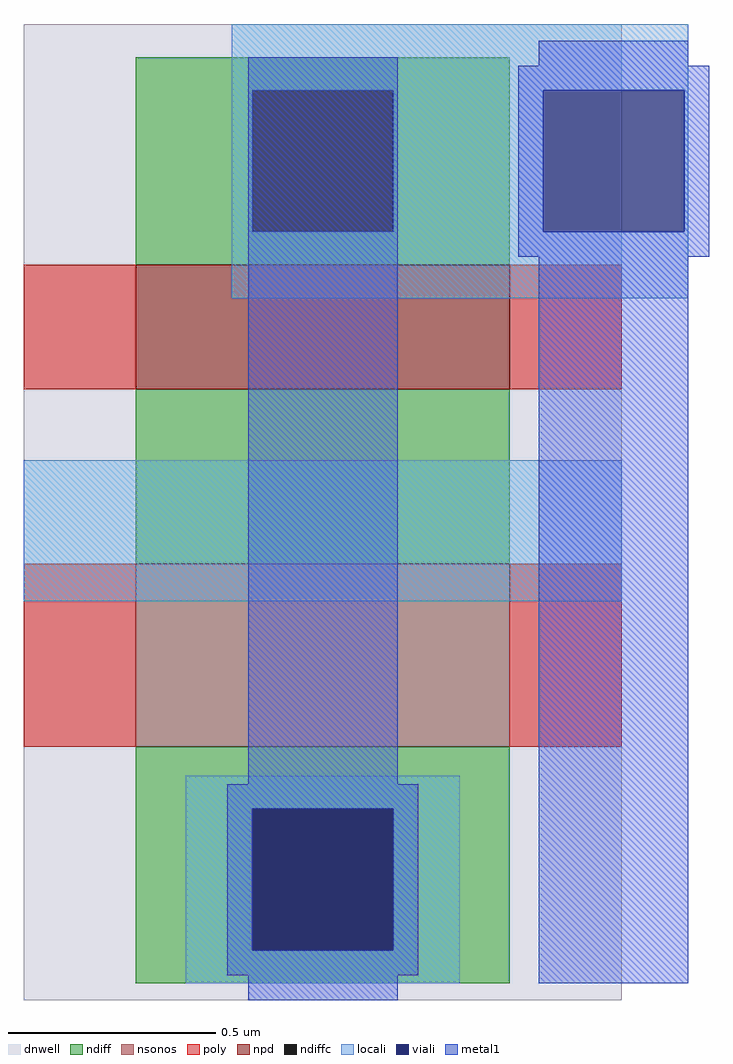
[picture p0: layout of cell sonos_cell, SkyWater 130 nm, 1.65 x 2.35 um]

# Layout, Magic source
magic
tech sky130A
<< dnwell >>
rect -72 -126 72 109
<< npd >>
rect -45 21 45 51
<< nsonos >>
rect -45 -65 45 -21
<< ndiff >>
rect -45 93 45 101
rect -45 59 -17 93
rect 17 59 45 93
rect -45 51 45 59
rect -45 -21 45 21
rect -45 -80 45 -65
rect -45 -114 -17 -80
rect 17 -114 45 -80
rect -45 -122 45 -114
<< ndiffc >>
rect -17 59 17 93
rect -17 -114 17 -80
<< poly >>
rect -72 21 -45 51
rect 45 21 72 51
rect -72 -65 -45 -21
rect 45 -65 72 -21
<< locali >>
rect -22 93 88 109
rect -22 59 -17 93
rect 17 59 53 93
rect 87 59 88 93
rect -22 43 88 59
rect -72 -30 72 4
rect -33 -80 33 -72
rect -33 -114 -17 -80
rect 17 -114 33 -80
rect -33 -122 33 -114
<< viali >>
rect 53 59 87 93
rect -17 -114 17 -80
<< metal1 >>
rect -18 -74 18 101
rect 52 99 88 105
rect 47 93 93 99
rect 47 59 53 93
rect 87 59 93 93
rect 47 53 93 59
rect -23 -80 23 -74
rect -23 -114 -17 -80
rect 17 -114 23 -80
rect -23 -120 23 -114
rect -18 -126 18 -120
rect 52 -122 88 53
<< properties >>
string FIXED_BBOX -72 -126 93 109
<< end >>
